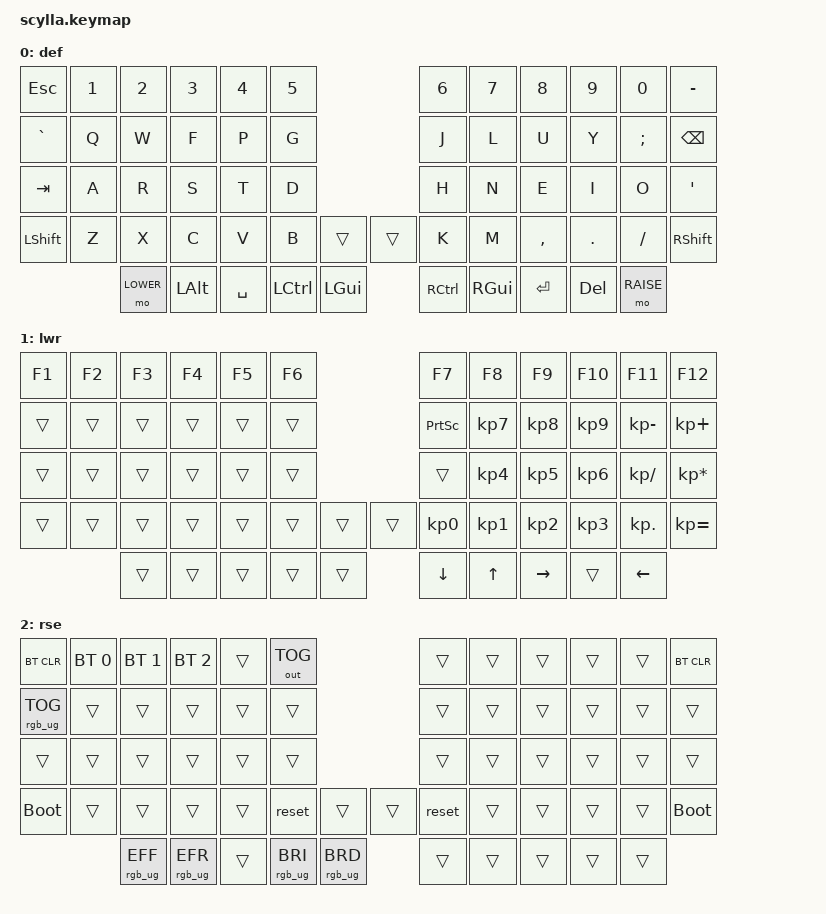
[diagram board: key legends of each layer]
#include <behaviors.dtsi>
#include <dt-bindings/zmk/keys.h>
#include <dt-bindings/zmk/bt.h>
#include <dt-bindings/zmk/outputs.h>
#include <dt-bindings/zmk/rgb.h>
#include <dt-bindings/zmk/ext_power.h>
#define DEFAULT 0
#define LOWER   1
#define RAISE   2

/ {
    keymap {
        compatible = "zmk,keymap";

        default_layer {
            label = "def";
// ------------------------------------------------------------------------------------------------------------
// |  ESC  |  1  |  2  |  3   |  4   |  5   |                   |  6   |  7    |  8    |  9   |   0   |   -   |
// |  `    |  Q  |  W  |  F   |  P   |  G   |                   |  J   |  L    |  U    |  Y   |   ;   | BKSPC |
// |  TAB  |  A  |  R  |  S   |  T   |  D   |                   |  H   |  N    |  E    |  I   |   O   |   '   |
// | SHIFT |  Z  |  X  |  C   |  V   |  B   |        |  |       |  K   |  M    |  ,    |  .   |   /   | SHIFT |
//               |SPACE| CTRL | LOWER| GUI  | LALT   |  | DEL | RCTRL |  RAISE  | GUI   | ENTER |

            bindings = <
&kp ESC   &kp N1 &kp N2   &kp N3   &kp N4    &kp N5                      &kp N6 &kp N7    &kp N8    &kp N9   &kp N0   &kp MINUS
&kp GRAVE &kp Q  &kp W    &kp F    &kp P     &kp G                       &kp J  &kp L     &kp U     &kp Y    &kp SEMI &kp BSPC
&kp TAB   &kp A  &kp R    &kp S    &kp T     &kp D                       &kp H  &kp N     &kp E     &kp I    &kp O    &kp SQT
&kp LSHFT &kp Z  &kp X    &kp C    &kp V     &kp B  &trans     &trans    &kp K  &kp M     &kp COMMA &kp DOT  &kp FSLH &kp RSHFT
                 &mo LOWER &kp LALT &kp SPACE &kp LCTRL  &kp LGUI   &kp RCTRL &kp RGUI &kp RET &kp DEL &mo RAISE
            >;


        };
    
        lower_layer {
        label = "lwr";
// ------------------------------------------------------------------------------------------------------------
// |  F1   |  F2 |  F3 |  F4  |  F5  |  F6  |                   |  F7  |  F8   |  F9   |  F10 |   F11 |  F12  |
// |       |     |     |      |      |      |                   | PSCRN|  7    |  8    |  9   |   -   |   +   |
// |       |     |     |      |      |      |                   |      |  4    |  5    |  6   |   /   |   *   |
// |       |     |     |      |      |      |        |  |       |  0   |  1    |  2    |  3   |   .   |   =   |
//               |     |      |      |      |        |  | LFT   | RGT  |  UP   | DEL    | DWN |

            bindings = <
&kp F1    &kp F2  &kp F3   &kp F4   &kp F5    &kp F6                      &kp F7      &kp F8      &kp F9      &kp F10     &kp F11       &kp F12
&trans    &trans  &trans   &trans   &trans    &trans                      &kp PSCRN   &kp KP_N7   &kp KP_N8   &kp KP_N9   &kp KP_MINUS  &kp KP_PLUS
&trans    &trans  &trans   &trans   &trans    &trans                      &trans      &kp KP_N4   &kp KP_N5   &kp KP_N6   &kp KP_SLASH  &kp KP_MULTIPLY
&trans    &trans  &trans   &trans   &trans    &trans   &trans     &trans  &kp KP_N0   &kp KP_N1   &kp KP_N2   &kp KP_N3   &kp KP_DOT    &kp KP_EQUAL
                 &trans &trans &trans &trans  &trans   &kp DOWN &kp UP &kp RIGHT &trans &kp LEFT
            >;


        };

        raise_layer {
          label = "rse";
// ------------------------------------------------------------------------------------------------------------
// | BTCLR | BT1 | BT2 | BT3  |      |  OUT |                   |      |       |       |      |       | BTCLR |
// |RGB TOG|     |     |      |      |      |                   |      |       |       |      |       |       |
// |       |     |     |      |      |      |                   |      |       |       |      |       |       |
// | BOOT  |     |     |      |      | RESET|        |  |       |RESET |       |       |      |       | BOOT  |
//     |     | RGB_BRI | RGB_EFF | RGB_BRD | RGB_EFR |  |      |       |       |      |

            bindings = <
&bt BT_CLR       &bt BT_SEL 0  &bt BT_SEL 1  &bt BT_SEL 2  &trans  &out OUT_TOG    &trans  &trans  &trans  &trans  &trans  &bt BT_CLR
&rgb_ug RGB_TOG  &trans  &trans   &trans   &trans    &trans                    &trans      &trans      &trans      &trans      &trans      &trans
&trans           &trans  &trans   &trans   &trans    &trans                    &trans      &trans      &trans      &trans      &trans      &trans
&bootloader      &trans  &trans   &trans   &trans    &reset   &trans   &trans  &reset      &trans      &trans      &trans      &trans      &bootloader
        &rgb_ug RGB_EFF &rgb_ug RGB_EFR  &trans  &rgb_ug RGB_BRI  &rgb_ug RGB_BRD            &trans &trans &trans &trans &trans
            >;


        };
    };
};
